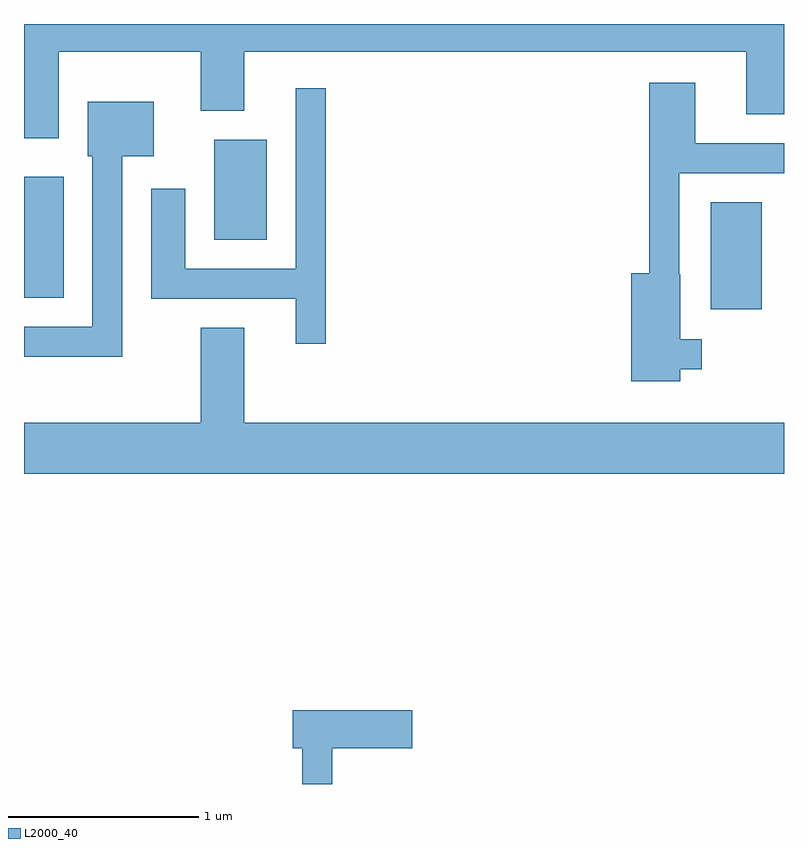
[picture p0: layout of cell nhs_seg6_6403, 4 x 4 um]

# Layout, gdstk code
import gdstk
lib = gdstk.Library(unit=1e-6, precision=1e-09)
def R(c, l, rs):  # rectangles x0, y0, x1, y1
    for r in rs: c.add(gdstk.rectangle(r[:2], r[2:], *l))
def P(c, l, *ps):  # polygons
    for p in ps: c.add(gdstk.Polygon(p, *l))
L2000_40 = (2000, 40)

nhs_seg6_6403 = lib.new_cell('nhs_seg6_6403')
R(nhs_seg6_6403, L2000_40, [(383.226,1568.661,383.494,1569.224), (379.611,1568.721,379.819,1569.359), (380.611,1569.026,380.889,1569.554)])
P(nhs_seg6_6403, L2000_40, [(379.794,1570.016),(380.541,1570.016),(380.541,1569.706),(380.769,1569.706),(380.769,1570.016),(383.411,1570.016),(383.411,1569.686),(383.611,1569.686),(383.611,1570.162),(379.611,1570.162),(379.611,1569.561),(379.794,1569.561)],
  [(383.064,1568.346),(383.179,1568.346),(383.179,1568.504),(383.064,1568.504),(383.064,1568.845),(383.059,1568.845),(383.059,1569.376),(383.611,1569.376),(383.611,1569.534),(383.144,1569.534),(383.144,1569.854),(382.901,1569.854),(382.901,1568.849),(382.806,1568.849),(382.806,1568.281),(383.064,1568.281)],
  [(381.199,1569.823),(381.041,1569.823),(381.041,1568.874),(380.459,1568.874),(380.459,1569.294),(380.281,1569.294),(380.281,1568.716),(381.041,1568.716),(381.041,1568.478),(381.199,1568.478)],
  [(380.129,1569.466),(380.294,1569.466),(380.294,1569.754),(379.946,1569.754),(379.946,1569.466),(379.971,1569.466),(379.971,1568.569),(379.611,1568.569),(379.611,1568.411),(380.129,1568.411)],
  [(383.611,1568.064),(380.769,1568.064),(380.769,1568.564),(380.541,1568.564),(380.541,1568.064),(379.611,1568.064),(379.611,1567.796),(383.611,1567.796)],
  [(381.234,1566.351),(381.654,1566.351),(381.654,1566.549),(381.026,1566.549),(381.026,1566.351),(381.076,1566.351),(381.076,1566.162),(381.234,1566.162)])

lib.write_gds('nhs_seg6_6403.gds')
